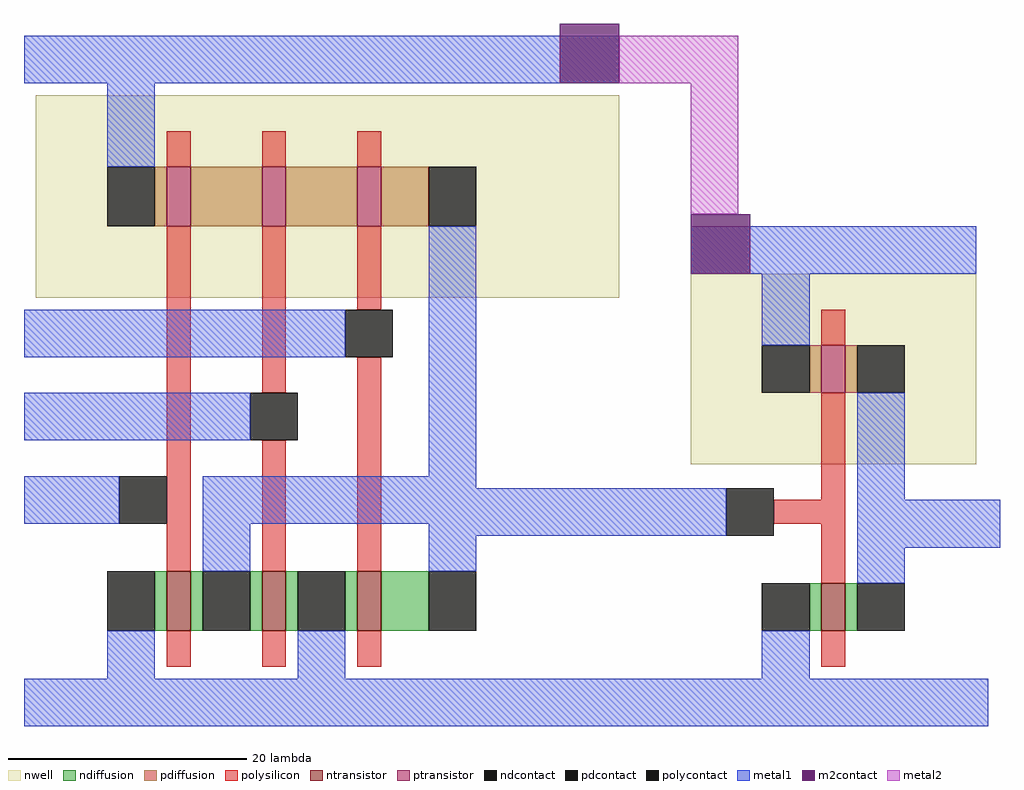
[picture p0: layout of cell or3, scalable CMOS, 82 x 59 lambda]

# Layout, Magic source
magic
tech scmos
<< metal1 >>
rect -1 54 0 58
rect -1 31 0 35
rect -1 24 0 28
rect -1 17 0 21
rect 36 16 55 20
rect 80 15 81 19
rect -1 0 0 4
rect 48 0 58 4
<< m2contact >>
rect 44 54 49 59
rect 55 38 60 43
<< metal2 >>
rect 49 54 59 58
rect 55 43 59 54
use inverter  inverter_0
transform 1 0 87 0 1 34
box -32 -34 -7 8
use nor3  nor3_0
transform 1 0 0 0 1 36
box 0 -36 49 22
<< end >>

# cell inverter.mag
magic
tech scmos
<< nwell >>
rect -32 -12 -8 4
<< ntransistor >>
rect -21 -26 -19 -22
<< ptransistor >>
rect -21 -6 -19 -2
<< ndiffusion >>
rect -22 -26 -21 -22
rect -19 -26 -18 -22
<< pdiffusion >>
rect -22 -6 -21 -2
rect -19 -6 -18 -2
<< ndcontact >>
rect -26 -26 -22 -22
rect -18 -26 -14 -22
<< pdcontact >>
rect -26 -6 -22 -2
rect -18 -6 -14 -2
<< polysilicon >>
rect -21 -2 -19 1
rect -21 -15 -19 -6
rect -25 -17 -19 -15
rect -21 -22 -19 -17
rect -21 -29 -19 -26
<< polycontact >>
rect -29 -18 -25 -14
<< metal1 >>
rect -32 4 -8 8
rect -26 -2 -22 4
rect -32 -18 -29 -14
rect -18 -15 -14 -6
rect -18 -19 -7 -15
rect -18 -22 -14 -19
rect -26 -30 -22 -26
rect -32 -34 -7 -30
<< end >>

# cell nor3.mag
magic
tech scmos
<< nwell >>
rect 0 0 49 17
<< ntransistor >>
rect 11 -28 13 -23
rect 19 -28 21 -23
rect 27 -28 29 -23
<< ptransistor >>
rect 11 6 13 11
rect 19 6 21 11
rect 27 6 29 11
<< ndiffusion >>
rect 10 -28 11 -23
rect 13 -28 14 -23
rect 18 -28 19 -23
rect 21 -28 22 -23
rect 26 -28 27 -23
rect 29 -28 33 -23
<< pdiffusion >>
rect 10 6 11 11
rect 13 6 19 11
rect 21 6 27 11
rect 29 6 33 11
<< ndcontact >>
rect 6 -28 10 -23
rect 14 -28 18 -23
rect 22 -28 26 -23
rect 33 -28 37 -23
<< pdcontact >>
rect 6 6 10 11
rect 33 6 37 11
<< polysilicon >>
rect 11 11 13 14
rect 19 11 21 14
rect 27 11 29 14
rect 11 -23 13 6
rect 19 -8 21 6
rect 27 -1 29 6
rect 19 -23 21 -12
rect 27 -23 29 -5
rect 11 -31 13 -28
rect 19 -31 21 -28
rect 27 -31 29 -28
<< polycontact >>
rect 7 -19 11 -15
rect 26 -5 30 -1
rect 18 -12 22 -8
<< metal1 >>
rect 0 18 49 22
rect 6 11 10 18
rect 0 -5 26 -1
rect 0 -12 18 -8
rect 33 -15 37 6
rect 0 -19 7 -15
rect 14 -19 37 -15
rect 14 -23 18 -19
rect 33 -23 37 -19
rect 6 -32 10 -28
rect 22 -32 26 -28
rect 0 -36 48 -32
<< end >>
